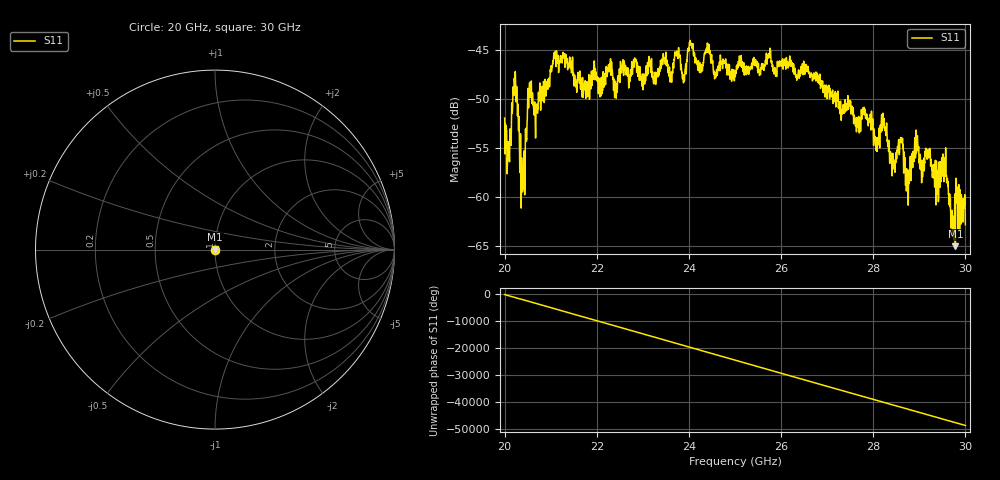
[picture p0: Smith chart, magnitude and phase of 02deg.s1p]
#  HZ  S  RI  R  50.00
! Rohde & Schwarz ZVA40 4Ports - Version 3.90 - 1145.1110k42 SN: 100403
! Date: 2023-10-03 10:20:39
! Measurement: S12
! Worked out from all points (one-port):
!   5001 points, 20 GHz to 30 GHz, reference 50 ohm
!   lowest |S11| = -65.0 dB at 29.78 GHz (marker M1), VSWR 1.00, Z = 50 + j0.0418 ohm
!   |S11| at or under -10 dB: start of sweep to end of sweep
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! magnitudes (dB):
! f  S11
! 20 GHz  -52.0
! 20.1 GHz  -55.3
! 20.23 GHz  -47.5
! 20.4 GHz  -59.2
! 20.55 GHz  -48.5
! 20.68 GHz  -52.0
! 21.25 GHz  -46.3
! 21.72 GHz  -48.9
! 22.5 GHz  -48.0
! 23.6 GHz  -47.3
! 23.75 GHz  -45.5
! 23.87 GHz  -47.5
! 24.04 GHz  -44.3
! 24.24 GHz  -46.3
! 25 GHz  -47.2
! 26.25 GHz  -46.5
! 27.5 GHz  -50.6
! 28.07 GHz  -54.0
! 28.22 GHz  -52.5
! 28.44 GHz  -56.3
! 28.6 GHz  -54.1
! 28.75 GHz  -59.5
! 28.94 GHz  -55.2
! 29.38 GHz  -56.8
! 29.53 GHz  -58.4
! 29.71 GHz  -61.7
! 29.78 GHz  -65.0
! 30 GHz  -62.8
